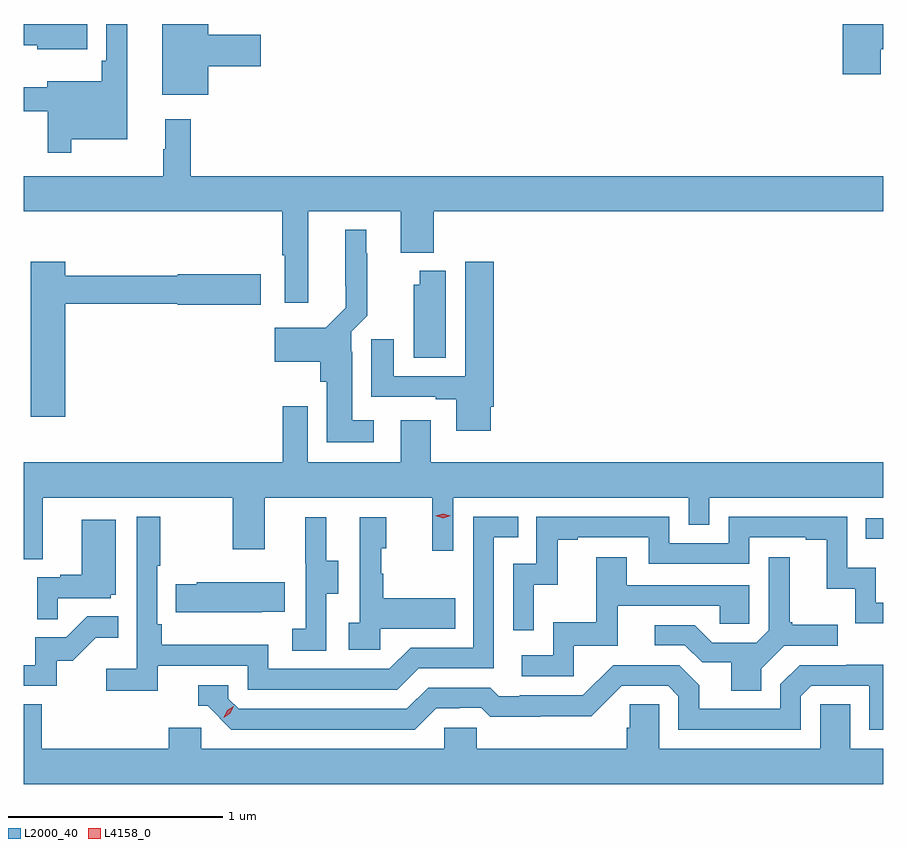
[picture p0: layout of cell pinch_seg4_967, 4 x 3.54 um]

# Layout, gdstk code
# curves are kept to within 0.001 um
import gdstk
lib = gdstk.Library(unit=1e-6, precision=1e-09)
def R(c, l, rs):  # rectangles x0, y0, x1, y1
    for r in rs: c.add(gdstk.rectangle(r[:2], r[2:], *l))
def P(c, l, *ps):  # polygons
    for p in ps: c.add(gdstk.Polygon(p, *l))
L2000_40 = (2000, 40)
L4158_0 = (4158, 0)

pinch_seg4_967 = lib.new_cell('pinch_seg4_967')
R(pinch_seg4_967, L2000_40, [(865.183,787.304,865.266,787.401)])
P(pinch_seg4_967, L2000_40, [(862.126,789.503),(862.369,789.503),(862.369,789.65),(862.126,789.65),(862.126,789.699),(861.911,789.699),(861.911,789.371),(862.126,789.371)],
  [(861.562,789.699),(861.266,789.699),(861.266,789.599),(861.33,789.599),(861.33,789.581),(861.562,789.581)],
  [(861.487,789.164),(861.748,789.164),(861.748,789.699),(861.651,789.699),(861.651,789.529),(861.631,789.529),(861.631,789.433),(861.377,789.433),(861.377,789.404),(861.266,789.404),(861.266,789.294),(861.378,789.294),(861.378,789.099),(861.487,789.099)],
  [(865.254,789.581),(865.266,789.581),(865.266,789.699),(865.076,789.699),(865.076,789.465),(865.254,789.465)],
  [(862.591,788.828),(863.021,788.828),(863.021,788.636),(863.174,788.636),(863.174,788.828),(865.266,788.828),(865.266,788.992),(862.043,788.992),(862.043,789.256),(861.926,789.256),(861.926,789.116),(861.915,789.116),(861.915,788.992),(861.266,788.992),(861.266,788.828),(862.469,788.828),(862.469,788.623),(862.481,788.623),(862.481,788.403),(862.591,788.403)],
  [(862.894,787.855),(862.795,787.855),(862.795,788.174),(862.791,788.174),(862.791,788.268),(862.865,788.342),(862.865,788.633),(862.861,788.633),(862.861,788.743),(862.763,788.743),(862.764,788.38),(862.671,788.287),(862.434,788.287),(862.434,788.129),(862.646,788.129),(862.646,788.034),(862.676,788.034),(862.676,787.754),(862.894,787.754)],
  [(863.44,787.918),(863.453,787.918),(863.453,788.593),(863.321,788.593),(863.321,788.061),(862.987,788.061),(862.987,788.233),(862.883,788.233),(862.883,787.965),(863.183,787.965),(863.183,787.953),(863.279,787.953),(863.279,787.806),(863.44,787.806)],
  [(861.46,788.398),(861.984,788.398),(861.984,788.393),(862.369,788.393),(862.369,788.535),(861.984,788.535),(861.984,788.527),(861.46,788.527),(861.46,788.593),(861.299,788.593),(861.299,787.872),(861.46,787.872)],
  [(863.23,788.551),(863.108,788.551),(863.108,788.487),(863.081,788.487),(863.081,788.146),(863.23,788.146)],
  [(861.355,787.496),(862.24,787.496),(862.24,787.257),(862.387,787.257),(862.387,787.496),(863.168,787.496),(863.168,787.248),(863.265,787.248),(863.265,787.496),(864.36,787.496),(864.36,787.369),(864.456,787.369),(864.456,787.496),(865.266,787.496),(865.266,787.66),(863.161,787.66),(863.161,787.855),(863.021,787.855),(863.021,787.66),(862.587,787.66),(862.587,787.921),(862.471,787.921),(862.471,787.66),(861.266,787.66),(861.266,787.21),(861.355,787.21)],
  [(861.89,786.714),(862.308,786.714),(862.308,786.603),(863.005,786.603),(863.104,786.702),(863.454,786.702),(863.454,787.311),(863.567,787.311),(863.567,787.407),(863.358,787.407),(863.358,786.798),(863.067,786.798),(862.968,786.699),(862.404,786.699),(862.404,786.811),(861.908,786.811),(861.908,786.907),(861.888,786.907),(861.888,787.18),(861.901,787.18),(861.901,787.408),(861.792,787.408),(861.792,786.7),(861.651,786.7),(861.651,786.598),(861.89,786.598)],
  [(863.64,787.091),(863.75,787.091),(863.75,787.299),(863.845,787.299),(863.845,787.311),(864.174,787.311),(864.174,787.188),(864.642,787.188),(864.642,787.311),(864.905,787.311),(864.905,787.299),(865.001,787.299),(865.001,787.073),(865.134,787.073),(865.134,786.912),(865.266,786.912),(865.266,787.008),(865.23,787.008),(865.23,787.171),(865.098,787.171),(865.098,787.407),(864.546,787.407),(864.546,787.284),(864.27,787.284),(864.27,787.407),(863.652,787.407),(863.652,787.188),(863.544,787.188),(863.544,786.879),(863.64,786.879)],
  [(862.926,786.887),(863.273,786.887),(863.273,787.027),(862.939,787.027),(862.939,787.142),(862.929,787.142),(862.929,787.26),(862.954,787.26),(862.954,787.405),(862.83,787.405),(862.83,786.914),(862.779,786.914),(862.779,786.789),(862.926,786.789)],
  [(862.674,787.048),(862.729,787.048),(862.729,787.203),(862.675,787.203),(862.675,787.405),(862.577,787.405),(862.577,787.191),(862.578,787.191),(862.578,786.887),(862.515,786.887),(862.515,786.784),(862.674,786.784)],
  [(861.425,787.029),(861.672,787.029),(861.672,787.044),(861.694,787.044),(861.694,787.393),(861.536,787.393),(861.536,787.138),(861.437,787.138),(861.437,787.125),(861.33,787.125),(861.33,786.931),(861.425,786.931)],
  [(864.697,786.7),(864.804,786.807),(865.054,786.807),(865.054,786.904),(864.841,786.904),(864.841,786.916),(864.829,786.916),(864.829,787.219),(864.732,787.219),(864.732,786.879),(864.675,786.822),(864.469,786.822),(864.388,786.903),(864.201,786.903),(864.201,786.81),(864.342,786.81),(864.422,786.73),(864.557,786.73),(864.557,786.598),(864.697,786.598)],
  [(863.826,786.807),(864.031,786.807),(864.031,786.993),(864.505,786.993),(864.505,786.909),(864.642,786.909),(864.642,787.089),(864.073,787.089),(864.073,787.219),(863.929,787.219),(863.929,786.916),(863.73,786.916),(863.73,786.762),(863.583,786.762),(863.583,786.666),(863.826,786.666)],
  [(862.373,786.965),(862.481,786.965),(862.481,787.102),(862.071,787.102),(862.071,787.092),(861.973,787.092),(861.973,786.962),(862.373,786.962)],
  [(861.42,786.738),(861.496,786.738),(861.603,786.845),(861.707,786.845),(861.707,786.944),(861.563,786.944),(861.465,786.846),(861.321,786.846),(861.321,786.717),(861.266,786.717),(861.266,786.621),(861.42,786.621)],
  [(863.185,786.516),(863.292,786.516),(863.292,786.519),(863.395,786.519),(863.437,786.477),(863.67,786.477),(863.67,786.479),(863.906,786.479),(864.048,786.621),(864.264,786.621),(864.312,786.573),(864.312,786.417),(864.882,786.417),(864.882,786.573),(864.93,786.621),(865.2,786.621),(865.2,786.417),(865.266,786.417),(865.266,786.719),(865.092,786.719),(865.092,786.717),(864.876,786.717),(864.786,786.627),(864.786,786.513),(864.409,786.513),(864.409,786.623),(864.315,786.717),(864.009,786.717),(863.868,786.576),(863.575,786.576),(863.575,786.573),(863.476,786.573),(863.437,786.612),(863.148,786.612),(863.049,786.513),(862.266,786.513),(862.218,786.561),(862.218,786.624),(862.079,786.624),(862.079,786.528),(862.122,786.528),(862.233,786.417),(863.086,786.417)],
  [(865.266,786.328),(865.111,786.328),(865.111,786.536),(864.972,786.536),(864.972,786.328),(864.222,786.328),(864.222,786.536),(864.085,786.536),(864.085,786.426),(864.071,786.426),(864.071,786.328),(863.373,786.328),(863.373,786.426),(863.223,786.426),(863.223,786.328),(862.092,786.328),(862.092,786.426),(861.941,786.426),(861.941,786.328),(861.35,786.328),(861.35,786.536),(861.266,786.536),(861.266,786.164),(865.266,786.164)])
P(pinch_seg4_967, L4158_0, [(862.197,786.472),(862.197,786.473),(862.213,786.506),(862.243,786.526),(862.244,786.526),(862.244,786.525),(862.228,786.492),(862.198,786.472)],
  [(863.218,787.401),(863.182,787.411),(863.182,787.411),(863.182,787.411),(863.218,787.421),(863.254,787.411),(863.254,787.411),(863.254,787.411)])

lib.write_gds('pinch_seg4_967.gds')
